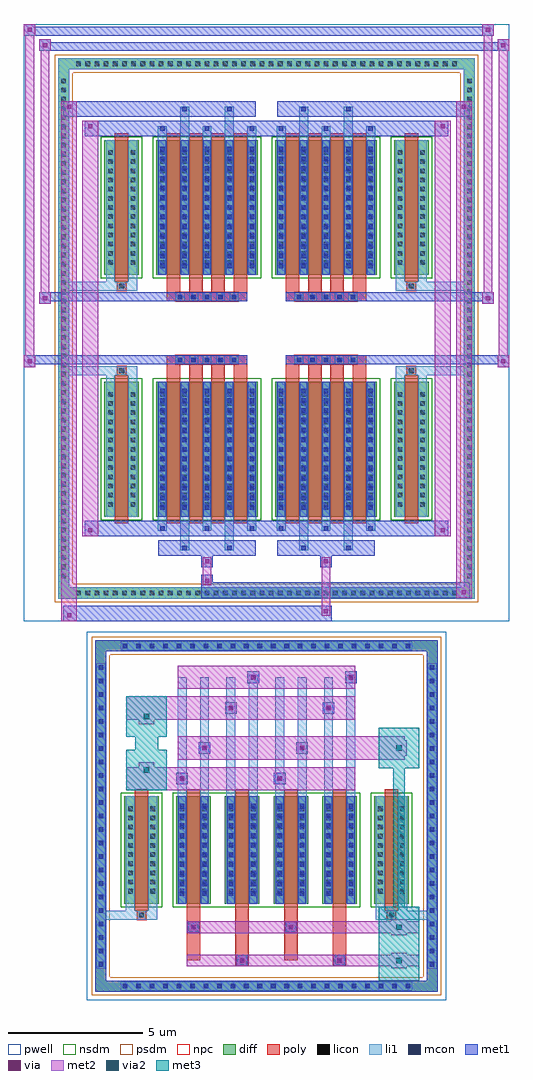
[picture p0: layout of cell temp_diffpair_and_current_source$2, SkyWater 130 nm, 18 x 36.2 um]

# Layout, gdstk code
import gdstk
lib = gdstk.Library(unit=1e-6, precision=5e-09)
def R(c, l, rs):  # rectangles x0, y0, x1, y1
    for r in rs: c.add(gdstk.rectangle(r[:2], r[2:], *l))
def A(c, l, x, y, w, h, nx, ny, dx, dy):  # array of equal rectangles
    R(c, l, [(x+i*dx, y+j*dy, x+i*dx+w, y+j*dy+h) for i in range(nx) for j in range(ny)])
def P(c, l, *ps):  # polygons
    for p in ps: c.add(gdstk.Polygon(p, *l))
pwell = (64, 44)
diff = (65, 20)
poly = (66, 20)
licon = (66, 44)
li1 = (67, 20)
mcon = (67, 44)
met1 = (68, 20)
via = (68, 44)
met2 = (69, 20)
via2 = (69, 44)
met3 = (70, 20)
nsdm = (93, 44)
psdm = (94, 20)
npc = (95, 20)

diff_pair_64b0bc6c = lib.new_cell('diff_pair_64b0bc6c')
R(diff_pair_64b0bc6c, pwell, [(-9,-10.86,9,11.29), (-6.32,-8.61,-0.01,-0.805), (0.01,-8.61,6.32,-0.805), (-6.32,0.805,-0.01,8.61), (0.01,0.805,6.32,8.61)])
A(diff_pair_64b0bc6c, diff, -7.175, -10.02, 0.41, 0.41, 42, 2, 0.34, 19.63)
A(diff_pair_64b0bc6c, diff, -7.73, -9.385, 0.41, 0.41, 1, 55, 0, 0.34)
A(diff_pair_64b0bc6c, diff, 7.32, -9.385, 0.41, 0.41, 1, 55, 0, 0.34)
R(diff_pair_64b0bc6c, diff, [(-7.175,-10.02,7.175,-9.61), (-7.73,-9.385,-7.32,9.385), (7.32,-9.385,7.73,9.385), (-6.01,-6.985,-4.73,-1.985), (-4.09,-6.985,-0.32,-1.985), (0.32,-6.985,4.09,-1.985), (4.73,-6.985,6.01,-1.985), (-6.01,1.985,-4.73,6.985), (-4.09,1.985,-0.32,6.985), (0.32,1.985,4.09,6.985), (4.73,1.985,6.01,6.985), (-7.175,9.61,7.175,10.02)])
P(diff_pair_64b0bc6c, diff, [(7.73,10.02),(-7.73,10.02),(-7.73,-9.61),(-7.32,-9.61),(-7.32,9.61),(7.32,9.61),(7.32,-9.61),(-7.32,-9.61),(-7.73,-9.61),(-7.73,-10.02),(7.73,-10.02)])
A(diff_pair_64b0bc6c, poly, -3.7, -7.235, 0.5, 5.5, 4, 2, 0.83, 8.97)
A(diff_pair_64b0bc6c, poly, 0.71, -7.235, 0.5, 5.5, 4, 2, 0.83, 8.97)
A(diff_pair_64b0bc6c, poly, -3.7, -1.735, 0.5, 0.4, 4, 2, 0.83, 3.07)
A(diff_pair_64b0bc6c, poly, 0.71, -1.735, 0.5, 0.4, 4, 2, 0.83, 3.07)
A(diff_pair_64b0bc6c, poly, -3.37, -1.335, 0.33, 0.33, 5, 2, 0.5, 2.34)
A(diff_pair_64b0bc6c, poly, 1.04, -1.335, 0.33, 0.33, 5, 2, 0.5, 2.34)
R(diff_pair_64b0bc6c, poly, [(-5.62,-7.235,-5.12,-1.735), (5.12,-7.235,5.62,-1.735), (-5.535,-1.735,-5.205,-1.405), (-5.535,-1.735,-5.205,-1.405), (5.205,-1.735,5.535,-1.405), (5.205,-1.735,5.535,-1.405), (-3.7,-1.335,-0.71,-1.005), (0.71,-1.335,3.7,-1.005), (-3.7,1.005,-0.71,1.335), (0.71,1.005,3.7,1.335), (-5.535,1.405,-5.205,1.735), (-5.535,1.405,-5.205,1.735), (5.205,1.405,5.535,1.735), (5.205,1.405,5.535,1.735), (-5.62,1.735,-5.12,7.235), (5.12,1.735,5.62,7.235)])
A(diff_pair_64b0bc6c, licon, -7.055, -9.9, 0.17, 0.17, 42, 2, 0.34, 19.63)
A(diff_pair_64b0bc6c, licon, -7.61, -9.265, 0.17, 0.17, 1, 55, 0, 0.34)
A(diff_pair_64b0bc6c, licon, 7.44, -9.265, 0.17, 0.17, 1, 55, 0, 0.34)
A(diff_pair_64b0bc6c, licon, -5.87, -6.61, 0.17, 0.17, 1, 13, 0, 0.34)
A(diff_pair_64b0bc6c, licon, -5.04, -6.61, 0.17, 0.17, 1, 13, 0, 0.34)
A(diff_pair_64b0bc6c, licon, -3.95, -6.61, 0.17, 0.17, 5, 13, 0.83, 0.34)
A(diff_pair_64b0bc6c, licon, 0.46, -6.61, 0.17, 0.17, 5, 13, 0.83, 0.34)
A(diff_pair_64b0bc6c, licon, 4.87, -6.61, 0.17, 0.17, 1, 13, 0, 0.34)
A(diff_pair_64b0bc6c, licon, 5.7, -6.61, 0.17, 0.17, 1, 13, 0, 0.34)
A(diff_pair_64b0bc6c, licon, -3.29, -1.255, 0.17, 0.17, 5, 2, 0.5, 2.34)
A(diff_pair_64b0bc6c, licon, 1.12, -1.255, 0.17, 0.17, 5, 2, 0.5, 2.34)
A(diff_pair_64b0bc6c, licon, -5.87, 2.36, 0.17, 0.17, 1, 13, 0, 0.34)
A(diff_pair_64b0bc6c, licon, -5.04, 2.36, 0.17, 0.17, 1, 13, 0, 0.34)
A(diff_pair_64b0bc6c, licon, -3.95, 2.36, 0.17, 0.17, 5, 13, 0.83, 0.34)
A(diff_pair_64b0bc6c, licon, 0.46, 2.36, 0.17, 0.17, 5, 13, 0.83, 0.34)
A(diff_pair_64b0bc6c, licon, 4.87, 2.36, 0.17, 0.17, 1, 13, 0, 0.34)
A(diff_pair_64b0bc6c, licon, 5.7, 2.36, 0.17, 0.17, 1, 13, 0, 0.34)
R(diff_pair_64b0bc6c, licon, [(-5.455,-1.655,-5.285,-1.485), (5.285,-1.655,5.455,-1.485), (-5.455,1.485,-5.285,1.655), (5.285,1.485,5.455,1.655)])
A(diff_pair_64b0bc6c, li1, -7.135, -9.98, 0.33, 0.33, 42, 2, 0.34, 19.63)
A(diff_pair_64b0bc6c, li1, -7.69, -9.345, 0.33, 0.33, 1, 55, 0, 0.34)
A(diff_pair_64b0bc6c, li1, 7.36, -9.345, 0.33, 0.33, 1, 55, 0, 0.34)
A(diff_pair_64b0bc6c, li1, -4.03, -7.505, 0.33, 0.52, 3, 2, 1.66, 14.49)
A(diff_pair_64b0bc6c, li1, -3.95, -7.505, 0.17, 0.17, 3, 2, 1.66, 14.84)
A(diff_pair_64b0bc6c, li1, 0.38, -7.505, 0.33, 0.52, 3, 2, 1.66, 14.49)
A(diff_pair_64b0bc6c, li1, 0.46, -7.505, 0.17, 0.17, 3, 2, 1.66, 14.84)
A(diff_pair_64b0bc6c, li1, -4.03, -6.985, 0.33, 5, 5, 2, 0.83, 8.97)
A(diff_pair_64b0bc6c, li1, 0.38, -6.985, 0.33, 5, 5, 2, 0.83, 8.97)
A(diff_pair_64b0bc6c, li1, -3.95, -6.73, 0.17, 0.17, 5, 13, 0.83, 0.36)
A(diff_pair_64b0bc6c, li1, -3.95, -6.73, 0.17, 4.49, 5, 2, 0.83, 8.97)
A(diff_pair_64b0bc6c, li1, 0.46, -6.73, 0.17, 0.17, 5, 13, 0.83, 0.36)
A(diff_pair_64b0bc6c, li1, 0.46, -6.73, 0.17, 4.49, 5, 2, 0.83, 8.97)
A(diff_pair_64b0bc6c, li1, -5.95, -6.69, 0.33, 0.33, 1, 13, 0, 0.34)
A(diff_pair_64b0bc6c, li1, -5.12, -6.69, 0.33, 0.33, 1, 13, 0, 0.34)
A(diff_pair_64b0bc6c, li1, -4.03, -6.69, 0.33, 0.33, 5, 13, 0.83, 0.34)
A(diff_pair_64b0bc6c, li1, 0.38, -6.69, 0.33, 0.33, 5, 13, 0.83, 0.34)
A(diff_pair_64b0bc6c, li1, 4.79, -6.69, 0.33, 0.33, 1, 13, 0, 0.34)
A(diff_pair_64b0bc6c, li1, 5.62, -6.69, 0.33, 0.33, 1, 13, 0, 0.34)
A(diff_pair_64b0bc6c, li1, -3.37, -1.335, 0.33, 0.33, 5, 2, 0.5, 2.34)
A(diff_pair_64b0bc6c, li1, 1.04, -1.335, 0.33, 0.33, 5, 2, 0.5, 2.34)
A(diff_pair_64b0bc6c, li1, -3.95, 2.24, 0.17, 0.17, 5, 13, 0.83, 0.36)
A(diff_pair_64b0bc6c, li1, 0.46, 2.24, 0.17, 0.17, 5, 13, 0.83, 0.36)
A(diff_pair_64b0bc6c, li1, -5.95, 2.28, 0.33, 0.33, 1, 13, 0, 0.34)
A(diff_pair_64b0bc6c, li1, -5.12, 2.28, 0.33, 0.33, 1, 13, 0, 0.34)
A(diff_pair_64b0bc6c, li1, -4.03, 2.28, 0.33, 0.33, 5, 13, 0.83, 0.34)
A(diff_pair_64b0bc6c, li1, 0.38, 2.28, 0.33, 0.33, 5, 13, 0.83, 0.34)
A(diff_pair_64b0bc6c, li1, 4.79, 2.28, 0.33, 0.33, 1, 13, 0, 0.34)
A(diff_pair_64b0bc6c, li1, 5.62, 2.28, 0.33, 0.33, 1, 13, 0, 0.34)
R(diff_pair_64b0bc6c, li1, [(-7.73,-10.02,-7.32,-9.61), (-7.73,-10.02,-7.32,-9.61), (-7.32,-10.02,7.32,-9.61), (7.32,-10.02,7.73,-9.61), (7.32,-10.02,7.73,-9.61), (-7.73,-9.61,-7.32,9.61), (7.32,-9.61,7.73,9.61), (-3.2,-8.225,-2.87,-6.985), (-3.12,-8.225,-2.95,-8.055), (-1.54,-8.225,-1.21,-6.985), (-1.46,-8.225,-1.29,-8.055), (1.21,-8.225,1.54,-6.985), (1.29,-8.225,1.46,-8.055), (2.87,-8.225,3.2,-6.985), (2.95,-8.225,3.12,-8.055), (-5.95,-6.985,-5.62,-1.985), (-5.12,-6.985,-4.79,-1.985), (4.79,-6.985,5.12,-1.985), (5.62,-6.985,5.95,-1.985), (-5.95,-1.985,-5.62,-1.405), (-5.12,-1.985,-4.79,-1.405), (4.79,-1.985,5.12,-1.405), (5.62,-1.985,5.95,-1.405), (-7.73,-1.735,-5.535,-1.405), (-5.95,-1.735,-5.535,-1.405), (-5.535,-1.735,-5.205,-1.405), (-5.205,-1.735,-4.79,-1.405), (4.79,-1.735,5.205,-1.405), (5.205,-1.735,5.535,-1.405), (5.205,-1.735,7.73,-1.405), (5.535,-1.735,5.95,-1.405), (-7.73,1.405,-5.535,1.735), (-5.95,1.405,-5.535,1.735), (-5.95,1.405,-5.62,1.985), (-5.535,1.405,-5.205,1.735), (-5.205,1.405,-4.79,1.735), (-5.12,1.405,-4.79,1.985), (4.79,1.405,5.205,1.735), (4.79,1.405,5.12,1.985), (5.205,1.405,5.535,1.735), (5.205,1.405,7.73,1.735), (5.535,1.405,5.95,1.735), (5.62,1.405,5.95,1.985), (-5.95,1.985,-5.62,6.985), (-5.12,1.985,-4.79,6.985), (4.79,1.985,5.12,6.985), (5.62,1.985,5.95,6.985), (-3.2,6.985,-2.87,8.225), (-1.54,6.985,-1.21,8.225), (1.21,6.985,1.54,8.225), (2.87,6.985,3.2,8.225), (-3.12,8.055,-2.95,8.225), (-1.46,8.055,-1.29,8.225), (1.29,8.055,1.46,8.225), (2.95,8.055,3.12,8.225), (-7.73,9.61,-7.32,10.02), (-7.73,9.61,-7.32,10.02), (-7.32,9.61,7.32,10.02), (7.32,9.61,7.73,10.02), (7.32,9.61,7.73,10.02)])
A(diff_pair_64b0bc6c, mcon, -3.95, -7.505, 0.17, 0.17, 3, 2, 1.66, 14.84)
A(diff_pair_64b0bc6c, mcon, 0.46, -7.505, 0.17, 0.17, 3, 2, 1.66, 14.84)
A(diff_pair_64b0bc6c, mcon, -3.95, -6.73, 0.17, 0.17, 5, 13, 0.83, 0.36)
A(diff_pair_64b0bc6c, mcon, 0.46, -6.73, 0.17, 0.17, 5, 13, 0.83, 0.36)
A(diff_pair_64b0bc6c, mcon, -3.29, -1.255, 0.17, 0.17, 5, 2, 0.5, 2.34)
A(diff_pair_64b0bc6c, mcon, 1.12, -1.255, 0.17, 0.17, 5, 2, 0.5, 2.34)
A(diff_pair_64b0bc6c, mcon, -3.95, 2.24, 0.17, 0.17, 5, 13, 0.83, 0.36)
A(diff_pair_64b0bc6c, mcon, 0.46, 2.24, 0.17, 0.17, 5, 13, 0.83, 0.36)
R(diff_pair_64b0bc6c, mcon, [(-3.12,-8.225,-2.95,-8.055), (-1.46,-8.225,-1.29,-8.055), (1.29,-8.225,1.46,-8.055), (2.95,-8.225,3.12,-8.055), (-3.12,8.055,-2.95,8.225), (-1.46,8.055,-1.29,8.225), (1.29,8.055,1.46,8.225), (2.95,8.055,3.12,8.225)])
A(diff_pair_64b0bc6c, met1, -4.01, -7.565, 0.29, 0.29, 3, 2, 1.66, 14.84)
A(diff_pair_64b0bc6c, met1, 0.4, -7.565, 0.29, 0.29, 3, 2, 1.66, 14.84)
A(diff_pair_64b0bc6c, met1, -4.01, -6.985, 0.29, 5, 5, 2, 0.83, 8.97)
A(diff_pair_64b0bc6c, met1, 0.4, -6.985, 0.29, 5, 5, 2, 0.83, 8.97)
A(diff_pair_64b0bc6c, met1, -4.01, -6.79, 0.29, 0.29, 5, 13, 0.83, 0.36)
A(diff_pair_64b0bc6c, met1, 0.4, -6.79, 0.29, 0.29, 5, 13, 0.83, 0.36)
A(diff_pair_64b0bc6c, met1, -3.35, -1.315, 0.29, 0.29, 5, 2, 0.5, 2.34)
A(diff_pair_64b0bc6c, met1, 1.06, -1.315, 0.29, 0.29, 5, 2, 0.5, 2.34)
A(diff_pair_64b0bc6c, met1, -4.01, 2.18, 0.29, 0.29, 5, 13, 0.83, 0.36)
A(diff_pair_64b0bc6c, met1, 0.4, 2.18, 0.29, 0.29, 5, 13, 0.83, 0.36)
R(diff_pair_64b0bc6c, met1, [(-7.535,-10.86,-7.105,-10.43), (-7.535,-10.86,2.42,-10.28), (1.99,-10.71,2.42,-10.28), (-2.42,-10,7.535,-9.42), (7.105,-10,7.535,-9.57), (-2.42,-9.57,-1.99,-9.14), (-2.42,-8.86,-1.99,-8.43), (1.99,-8.86,2.42,-8.43), (-4.01,-8.43,-0.4,-7.85), (0.4,-8.43,4.01,-7.85), (-3.18,-8.285,-2.89,-7.995), (-1.52,-8.285,-1.23,-7.995), (1.23,-8.285,1.52,-7.995), (2.89,-8.285,3.18,-7.995), (-6.75,-7.71,-6.32,-7.28), (-6.75,-7.71,-4.01,-7.13), (-4.01,-7.71,-0.4,-7.13), (-0.4,-7.71,0.4,-7.13), (0.4,-7.71,4.01,-7.13), (4.01,-7.71,6.75,-7.13), (6.32,-7.71,6.75,-7.28), (-9,-1.435,-8.57,-1.005), (8.57,-1.435,9,-1.005), (-9,-1.335,-0.71,-1.005), (-3.7,-1.335,-0.71,-1.005), (0.71,-1.335,3.7,-1.005), (0.71,-1.335,9,-1.005), (-8.43,0.905,-8,1.335), (8,0.905,8.43,1.335), (-8.43,1.005,-3.7,1.335), (-3.7,1.005,-0.71,1.335), (0.71,1.005,3.7,1.335), (3.7,1.005,8.43,1.335), (-6.75,7.13,-4.01,7.71), (-4.01,7.13,-0.4,7.71), (-0.4,7.13,0.4,7.71), (0.4,7.13,4.01,7.71), (4.01,7.13,6.75,7.71), (-6.75,7.28,-6.32,7.71), (6.32,7.28,6.75,7.71), (-7.535,7.85,-4.01,8.43), (-4.01,7.85,-0.4,8.43), (0.4,7.85,4.01,8.43), (4.01,7.85,7.535,8.43), (-3.18,7.995,-2.89,8.285), (-1.52,7.995,-1.23,8.285), (1.23,7.995,1.52,8.285), (2.89,7.995,3.18,8.285), (-7.535,8,-7.105,8.43), (7.105,8,7.535,8.43), (-8.43,10.29,-8,10.72), (-8.43,10.29,-6.32,10.62), (-6.32,10.29,6.32,10.62), (6.32,10.29,9,10.62), (8.57,10.29,9,10.72), (-9,10.86,-8.57,11.29), (-9,10.86,-6.32,11.19), (-6.32,10.86,6.32,11.19), (6.32,10.86,8.43,11.19), (8,10.86,8.43,11.29)])
R(diff_pair_64b0bc6c, via, [(-7.395,-10.72,-7.245,-10.57), (2.13,-10.57,2.28,-10.42), (7.245,-9.86,7.395,-9.71), (-2.28,-9.43,-2.13,-9.28), (-2.28,-8.72,-2.13,-8.57), (2.13,-8.72,2.28,-8.57), (-6.61,-7.57,-6.46,-7.42), (6.46,-7.57,6.61,-7.42), (-8.86,-1.295,-8.71,-1.145), (8.71,-1.295,8.86,-1.145), (-8.29,1.045,-8.14,1.195), (8.14,1.045,8.29,1.195), (-6.61,7.42,-6.46,7.57), (6.46,7.42,6.61,7.57), (-7.395,8.14,-7.245,8.29), (7.245,8.14,7.395,8.29), (-8.29,10.43,-8.14,10.58), (8.71,10.43,8.86,10.58), (-8.86,11,-8.71,11.15), (8.14,11,8.29,11.15)])
R(diff_pair_64b0bc6c, met2, [(-7.61,-10.86,-7.03,8.43), (-7.535,-10.86,-7.105,-10.43), (-7.105,-10.86,-7.03,-10.43), (-7.485,-10.81,-7.155,-10.48), (2.04,-10.66,2.37,-10.33), (2.04,-10.33,2.37,-8.81), (7.03,-10,7.61,8.43), (7.105,-10,7.535,-9.57), (7.535,-10,7.61,-9.57), (7.155,-9.95,7.485,-9.62), (-2.37,-9.52,-2.04,-9.19), (-2.37,-9.19,-2.04,-8.81), (-2.37,-8.81,-2.04,-8.48), (2.04,-8.81,2.37,-8.48), (-6.825,-7.71,-6.245,7.71), (-6.75,-7.71,-6.32,-7.28), (-6.32,-7.71,-6.245,-7.28), (6.245,-7.71,6.825,7.71), (6.32,-7.71,6.75,-7.28), (6.75,-7.71,6.825,-7.28), (-6.7,-7.66,-6.37,-7.33), (6.37,-7.66,6.7,-7.33), (-9,-1.435,-8.57,-1.005), (-8.95,-1.435,-8.62,11.29), (-8.62,-1.435,-8.57,-1.005), (8.57,-1.435,9,-1.005), (8.62,-1.435,8.95,10.72), (8.95,-1.435,9,-1.005), (-8.95,-1.385,-8.62,-1.055), (8.62,-1.385,8.95,-1.055), (-8.43,0.905,-8,1.335), (-8.38,0.905,-8.05,10.72), (-8.05,0.905,-8,1.335), (8,0.905,8.43,1.335), (8.05,0.905,8.38,11.29), (8.38,0.905,8.43,1.335), (-8.38,0.955,-8.05,1.285), (8.05,0.955,8.38,1.285), (-6.75,7.28,-6.32,7.71), (-6.32,7.28,-6.245,7.71), (6.32,7.28,6.75,7.71), (6.75,7.28,6.825,7.71), (-6.7,7.33,-6.37,7.66), (6.37,7.33,6.7,7.66), (-7.535,8,-7.105,8.43), (-7.105,8,-7.03,8.43), (7.105,8,7.535,8.43), (7.535,8,7.61,8.43), (-7.485,8.05,-7.155,8.38), (7.155,8.05,7.485,8.38), (-8.43,10.29,-8,10.72), (-8.05,10.29,-8,10.72), (8.57,10.29,9,10.72), (8.95,10.29,9,10.72), (-8.38,10.34,-8.05,10.67), (8.62,10.34,8.95,10.67), (-9,10.86,-8.57,11.29), (-8.62,10.86,-8.57,11.29), (8,10.86,8.43,11.29), (8.38,10.86,8.43,11.29), (-8.95,10.91,-8.62,11.24), (8.05,10.91,8.38,11.24)])
R(diff_pair_64b0bc6c, nsdm, [(-6.14,-7.115,-4.6,-1.855), (-4.22,-7.115,-0.19,-1.855), (0.19,-7.115,4.22,-1.855), (4.6,-7.115,6.14,-1.855), (-6.14,1.855,-4.6,7.115), (-4.22,1.855,-0.19,7.115), (0.19,1.855,4.22,7.115), (4.6,1.855,6.14,7.115)])
P(diff_pair_64b0bc6c, psdm, [(7.86,10.15),(-7.86,10.15),(-7.86,-9.48),(-7.19,-9.48),(-7.19,9.48),(7.19,9.48),(7.19,-9.48),(-7.19,-9.48),(-7.86,-9.48),(-7.86,-10.15),(7.86,-10.15)])
A(diff_pair_64b0bc6c, npc, -3.39, -1.355, 0.37, 0.37, 5, 2, 0.5, 2.34)
A(diff_pair_64b0bc6c, npc, 1.02, -1.355, 0.37, 0.37, 5, 2, 0.5, 2.34)
R(diff_pair_64b0bc6c, npc, [(-5.555,-1.755,-5.185,-1.385), (5.185,-1.755,5.555,-1.385), (-3.39,-1.355,-2.52,-0.985), (-3.39,-1.355,-2.52,-0.985), (-2.89,-1.355,-2.02,-0.985), (-2.89,-1.355,-2.02,-0.985), (-2.39,-1.355,-1.52,-0.985), (-2.39,-1.355,-1.52,-0.985), (-1.89,-1.355,-1.02,-0.985), (-1.89,-1.355,-1.02,-0.985), (1.02,-1.355,1.89,-0.985), (1.02,-1.355,1.89,-0.985), (1.52,-1.355,2.39,-0.985), (1.52,-1.355,2.39,-0.985), (2.02,-1.355,2.89,-0.985), (2.02,-1.355,2.89,-0.985), (2.52,-1.355,3.39,-0.985), (2.52,-1.355,3.39,-0.985), (-3.39,0.985,-2.52,1.355), (-3.39,0.985,-2.52,1.355), (-2.89,0.985,-2.02,1.355), (-2.89,0.985,-2.02,1.355), (-2.39,0.985,-1.52,1.355), (-2.39,0.985,-1.52,1.355), (-1.89,0.985,-1.02,1.355), (-1.89,0.985,-1.02,1.355), (1.02,0.985,1.89,1.355), (1.02,0.985,1.89,1.355), (1.52,0.985,2.39,1.355), (1.52,0.985,2.39,1.355), (2.02,0.985,2.89,1.355), (2.02,0.985,2.89,1.355), (2.52,0.985,3.39,1.355), (2.52,0.985,3.39,1.355), (-5.555,1.385,-5.185,1.755), (5.185,1.385,5.555,1.755)])

unnamed_06561454_1 = lib.new_cell('Unnamed_06561454$1')
A(unnamed_06561454_1, diff, -5.455, -6.515, 0.41, 0.41, 22, 2, 0.5, 12.62)
A(unnamed_06561454_1, diff, -6.35, -5.705, 0.41, 0.41, 1, 23, 0, 0.5)
A(unnamed_06561454_1, diff, 5.94, -5.705, 0.41, 0.41, 1, 23, 0, 0.5)
R(unnamed_06561454_1, diff, [(-5.455,-6.515,5.455,-6.105), (-6.35,-5.705,-5.94,5.705), (5.94,-5.705,6.35,5.705), (-5.455,6.105,5.455,6.515)])
P(unnamed_06561454_1, diff, [(6.35,6.515),(-6.35,6.515),(-6.35,-6.105),(-5.94,-6.105),(-5.94,6.105),(5.94,6.105),(5.94,-6.105),(-5.94,-6.105),(-6.35,-6.105),(-6.35,-6.515),(6.35,-6.515)])
A(unnamed_06561454_1, licon, -5.335, -6.395, 0.17, 0.17, 22, 2, 0.5, 12.62)
A(unnamed_06561454_1, licon, -6.23, -5.585, 0.17, 0.17, 1, 23, 0, 0.5)
A(unnamed_06561454_1, licon, 6.06, -5.585, 0.17, 0.17, 1, 23, 0, 0.5)
A(unnamed_06561454_1, li1, -5.415, -6.475, 0.33, 0.33, 22, 2, 0.5, 12.62)
A(unnamed_06561454_1, li1, -6.31, -5.665, 0.33, 0.33, 1, 23, 0, 0.5)
A(unnamed_06561454_1, li1, 5.98, -5.665, 0.33, 0.33, 1, 23, 0, 0.5)
R(unnamed_06561454_1, li1, [(-5.415,-6.475,5.415,-6.145), (-6.31,-5.665,-5.98,5.665), (5.98,-5.665,6.31,5.665), (-5.415,6.145,5.415,6.475)])
A(unnamed_06561454_1, mcon, -5.335, -6.395, 0.17, 0.17, 22, 2, 0.5, 12.62)
A(unnamed_06561454_1, mcon, -6.23, -5.585, 0.17, 0.17, 1, 23, 0, 0.5)
A(unnamed_06561454_1, mcon, 6.06, -5.585, 0.17, 0.17, 1, 23, 0, 0.5)
A(unnamed_06561454_1, met1, -5.395, -6.455, 0.29, 0.29, 22, 2, 0.5, 12.62)
A(unnamed_06561454_1, met1, -6.29, -5.645, 0.29, 0.29, 1, 23, 0, 0.5)
A(unnamed_06561454_1, met1, 6, -5.645, 0.29, 0.29, 1, 23, 0, 0.5)
R(unnamed_06561454_1, met1, [(-6.35,-6.515,-5.94,-6.105), (-6.35,-6.515,-5.94,-6.105), (-5.94,-6.515,5.94,-6.105), (5.94,-6.515,6.35,-6.105), (5.94,-6.515,6.35,-6.105), (-6.35,-6.105,-5.94,6.105), (5.94,-6.105,6.35,6.105), (-6.35,6.105,-5.94,6.515), (-6.35,6.105,-5.94,6.515), (-5.94,6.105,5.94,6.515), (5.94,6.105,6.35,6.515), (5.94,6.105,6.35,6.515)])
P(unnamed_06561454_1, psdm, [(6.48,6.645),(-6.48,6.645),(-6.48,-5.975),(-5.81,-5.975),(-5.81,5.975),(5.81,5.975),(5.81,-5.975),(-5.81,-5.975),(-6.48,-5.975),(-6.48,-6.645),(6.48,-6.645)])

straight_route_0aa523a1 = lib.new_cell('straight_route_0aa523a1')
R(straight_route_0aa523a1, li1, [(-6.35,-3.84,-4.8,-3.51)])

straight_route_9a4c316b = lib.new_cell('straight_route_9a4c316b')
R(straight_route_9a4c316b, li1, [(4.8,-3.84,6.35,-3.51)])

c_route_3179fd49 = lib.new_cell('c_route_3179fd49')
R(c_route_3179fd49, met2, [(4.625,-5.645,5.205,-5.065), (2.965,-5.57,5.665,-5.14), (4.625,-4.415,5.205,-3.835), (2.965,-4.34,5.665,-3.91)])
R(c_route_3179fd49, via2, [(4.815,-5.455,5.015,-5.255), (4.815,-4.225,5.015,-4.025)])
R(c_route_3179fd49, met3, [(4.165,-6.105,5.665,-4.605), (4.165,-6.105,5.665,-4.605), (4.7,-6.105,5.13,-3.375), (5.13,-6.105,5.665,-4.605), (4.165,-4.875,5.665,-3.375), (4.165,-4.875,5.665,-3.375), (5.13,-4.875,5.665,-3.375)])

l_route_c072cab6 = lib.new_cell('L_route_c072cab6')
R(l_route_c072cab6, met2, [(3.295,2.095,5.13,2.955), (4.625,2.235,5.205,2.815)])
R(l_route_c072cab6, via2, [(4.815,2.425,5.015,2.625)])
R(l_route_c072cab6, met3, [(4.7,-3.375,5.13,2.955), (4.165,1.775,5.665,3.275), (4.165,1.775,5.665,3.275)])

c_route_3a6a508b = lib.new_cell('c_route_3a6a508b')
R(c_route_3a6a508b, met2, [(-5.195,0.955,-3.295,1.815), (-4.735,1.415,-4.155,1.995), (-4.735,3.395,-4.155,3.975), (-5.195,3.575,-3.295,4.435)])
R(c_route_3a6a508b, via2, [(-4.545,1.605,-4.345,1.805), (-4.545,3.585,-4.345,3.785)])
R(c_route_3a6a508b, met3, [(-5.195,0.955,-3.695,2.455), (-5.195,0.955,-3.695,2.455), (-4.875,0.955,-4.015,4.435), (-4.015,0.955,-3.695,2.455), (-5.195,2.935,-3.695,4.435), (-5.195,2.935,-3.695,4.435), (-4.015,2.935,-3.695,4.435)])

transformed_bc60aaf5 = lib.new_cell('transformed_bc60aaf5')
R(transformed_bc60aaf5, pwell, [(-6.66,-6.825,6.66,6.825)])
A(transformed_bc60aaf5, diff, -3.355, -3.26, 1.28, 4, 4, 1, 1.81, 0)
R(transformed_bc60aaf5, diff, [(-5.275,-3.26,-3.995,0.74), (3.995,-3.26,5.275,0.74)])
A(transformed_bc60aaf5, poly, -2.965, -3.51, 0.5, 4.5, 4, 1, 1.81, 0)
R(transformed_bc60aaf5, poly, [(-1.155,-5.57,-0.655,-5.14), (2.465,-5.57,2.965,-5.14), (-1.07,-5.52,-0.74,-5.19), (2.55,-5.52,2.88,-5.19), (-2.965,-5.355,-2.465,-3.51), (0.655,-5.355,1.155,-3.51), (-1.155,-5.14,-0.655,-3.51), (2.465,-5.14,2.965,-3.51), (-2.965,-4.34,-2.465,-3.91), (0.655,-4.34,1.155,-3.91), (-2.88,-4.29,-2.55,-3.96), (0.74,-4.29,1.07,-3.96), (-2.965,-3.91,-2.465,-3.51), (0.655,-3.91,1.155,-3.51), (-4.8,-3.84,-4.47,-3.51), (-4.8,-3.84,-4.47,-3.51), (4.47,-3.84,4.8,-3.51), (4.47,-3.84,4.8,-3.51), (-4.885,-3.51,-4.385,0.99), (4.385,-3.51,4.885,0.99)])
A(transformed_bc60aaf5, licon, -5.135, -2.875, 0.17, 0.17, 1, 10, 0, 0.34)
A(transformed_bc60aaf5, licon, -4.305, -2.875, 0.17, 0.17, 1, 10, 0, 0.34)
A(transformed_bc60aaf5, licon, -3.215, -2.875, 0.17, 0.17, 1, 10, 0, 0.34)
A(transformed_bc60aaf5, licon, -2.385, -2.875, 0.17, 0.17, 1, 10, 0, 0.34)
A(transformed_bc60aaf5, licon, -1.405, -2.875, 0.17, 0.17, 1, 10, 0, 0.34)
A(transformed_bc60aaf5, licon, -0.575, -2.875, 0.17, 0.17, 1, 10, 0, 0.34)
A(transformed_bc60aaf5, licon, 0.405, -2.875, 0.17, 0.17, 1, 10, 0, 0.34)
A(transformed_bc60aaf5, licon, 1.235, -2.875, 0.17, 0.17, 1, 10, 0, 0.34)
A(transformed_bc60aaf5, licon, 2.215, -2.875, 0.17, 0.17, 1, 10, 0, 0.34)
A(transformed_bc60aaf5, licon, 3.045, -2.875, 0.17, 0.17, 1, 10, 0, 0.34)
A(transformed_bc60aaf5, licon, 4.135, -2.875, 0.17, 0.17, 1, 10, 0, 0.34)
A(transformed_bc60aaf5, licon, 4.965, -2.875, 0.17, 0.17, 1, 10, 0, 0.34)
R(transformed_bc60aaf5, licon, [(-0.99,-5.44,-0.82,-5.27), (2.63,-5.44,2.8,-5.27), (-2.8,-4.21,-2.63,-4.04), (0.82,-4.21,0.99,-4.04), (-4.72,-3.76,-4.55,-3.59), (4.55,-3.76,4.72,-3.59)])
A(transformed_bc60aaf5, li1, -3.215, -2.965, 0.17, 0.17, 1, 10, 0, 0.36)
A(transformed_bc60aaf5, li1, -2.385, -2.965, 0.17, 0.17, 1, 10, 0, 0.36)
A(transformed_bc60aaf5, li1, -1.405, -2.965, 0.17, 0.17, 1, 10, 0, 0.36)
A(transformed_bc60aaf5, li1, -0.575, -2.965, 0.17, 0.17, 1, 10, 0, 0.36)
A(transformed_bc60aaf5, li1, 0.405, -2.965, 0.17, 0.17, 1, 10, 0, 0.36)
A(transformed_bc60aaf5, li1, 1.235, -2.965, 0.17, 0.17, 1, 10, 0, 0.36)
A(transformed_bc60aaf5, li1, 2.215, -2.965, 0.17, 0.17, 1, 10, 0, 0.36)
A(transformed_bc60aaf5, li1, 3.045, -2.965, 0.17, 0.17, 1, 10, 0, 0.36)
A(transformed_bc60aaf5, li1, -5.215, -2.955, 0.33, 0.33, 1, 10, 0, 0.34)
A(transformed_bc60aaf5, li1, -4.385, -2.955, 0.33, 0.33, 1, 10, 0, 0.34)
A(transformed_bc60aaf5, li1, -3.295, -2.955, 0.33, 0.33, 1, 10, 0, 0.34)
A(transformed_bc60aaf5, li1, -2.465, -2.955, 0.33, 0.33, 1, 10, 0, 0.34)
A(transformed_bc60aaf5, li1, -1.485, -2.955, 0.33, 0.33, 1, 10, 0, 0.34)
A(transformed_bc60aaf5, li1, -0.655, -2.955, 0.33, 0.33, 1, 10, 0, 0.34)
A(transformed_bc60aaf5, li1, 0.325, -2.955, 0.33, 0.33, 1, 10, 0, 0.34)
A(transformed_bc60aaf5, li1, 1.155, -2.955, 0.33, 0.33, 1, 10, 0, 0.34)
A(transformed_bc60aaf5, li1, 2.135, -2.955, 0.33, 0.33, 1, 10, 0, 0.34)
A(transformed_bc60aaf5, li1, 2.965, -2.955, 0.33, 0.33, 1, 10, 0, 0.34)
A(transformed_bc60aaf5, li1, 4.055, -2.955, 0.33, 0.33, 1, 10, 0, 0.34)
A(transformed_bc60aaf5, li1, 4.885, -2.955, 0.33, 0.33, 1, 10, 0, 0.34)
R(transformed_bc60aaf5, li1, [(-1.07,-5.52,-0.74,-5.19), (2.55,-5.52,2.88,-5.19), (-2.88,-4.29,-2.55,-3.96), (0.74,-4.29,1.07,-3.96), (-5.215,-3.84,-4.8,-3.51), (-5.215,-3.84,-4.885,-3.26), (-4.8,-3.84,-4.47,-3.51), (-4.47,-3.84,-4.055,-3.51), (-4.385,-3.84,-4.055,-3.26), (4.055,-3.84,4.47,-3.51), (4.055,-3.84,4.385,-3.26), (4.47,-3.84,4.8,-3.51), (4.8,-3.84,5.215,-3.51), (4.885,-3.84,5.215,-3.26), (-5.215,-3.26,-4.885,0.74), (-4.385,-3.26,-4.055,0.74), (-3.295,-3.26,-2.965,0.74), (-2.465,-3.26,-2.135,0.74), (-1.485,-3.26,-1.155,0.74), (-0.655,-3.26,-0.325,0.74), (0.325,-3.26,0.655,0.74), (1.155,-3.26,1.485,0.74), (2.135,-3.26,2.465,0.74), (2.965,-3.26,3.295,0.74), (4.055,-3.26,4.385,0.74), (4.885,-3.26,5.215,0.74), (-3.215,-2.965,-3.045,0.445), (-2.385,-2.965,-2.215,0.445), (-1.405,-2.965,-1.235,0.445), (-0.575,-2.965,-0.405,0.445), (0.405,-2.965,0.575,0.445), (1.235,-2.965,1.405,0.445), (2.215,-2.965,2.385,0.445), (3.045,-2.965,3.215,0.445), (-3.295,0.74,-2.965,1.47), (-3.295,0.74,-2.965,5.145), (-2.465,0.74,-2.135,2.61), (-2.465,0.74,-2.135,5.145), (-1.485,0.74,-1.155,4.09), (-1.485,0.74,-1.155,5.145), (-0.655,0.74,-0.325,5.23), (-0.655,0.74,-0.325,5.145), (0.325,0.74,0.655,1.47), (0.325,0.74,0.655,5.145), (1.155,0.74,1.485,2.61), (1.155,0.74,1.485,5.145), (2.135,0.74,2.465,4.09), (2.135,0.74,2.465,5.145), (2.965,0.74,3.295,5.23), (2.965,0.74,3.295,5.145), (-3.215,1.3,-3.045,1.47), (0.405,1.3,0.575,1.47), (-2.385,2.44,-2.215,2.61), (1.235,2.44,1.405,2.61), (-1.405,3.92,-1.235,4.09), (2.215,3.92,2.385,4.09), (-0.575,5.06,-0.405,5.23), (3.045,5.06,3.215,5.23)])
A(transformed_bc60aaf5, mcon, -3.215, -2.965, 0.17, 0.17, 1, 10, 0, 0.36)
A(transformed_bc60aaf5, mcon, -2.385, -2.965, 0.17, 0.17, 1, 10, 0, 0.36)
A(transformed_bc60aaf5, mcon, -1.405, -2.965, 0.17, 0.17, 1, 10, 0, 0.36)
A(transformed_bc60aaf5, mcon, -0.575, -2.965, 0.17, 0.17, 1, 10, 0, 0.36)
A(transformed_bc60aaf5, mcon, 0.405, -2.965, 0.17, 0.17, 1, 10, 0, 0.36)
A(transformed_bc60aaf5, mcon, 1.235, -2.965, 0.17, 0.17, 1, 10, 0, 0.36)
A(transformed_bc60aaf5, mcon, 2.215, -2.965, 0.17, 0.17, 1, 10, 0, 0.36)
A(transformed_bc60aaf5, mcon, 3.045, -2.965, 0.17, 0.17, 1, 10, 0, 0.36)
R(transformed_bc60aaf5, mcon, [(-0.99,-5.44,-0.82,-5.27), (2.63,-5.44,2.8,-5.27), (-2.8,-4.21,-2.63,-4.04), (0.82,-4.21,0.99,-4.04), (-3.215,1.3,-3.045,1.47), (0.405,1.3,0.575,1.47), (-2.385,2.44,-2.215,2.61), (1.235,2.44,1.405,2.61), (-1.405,3.92,-1.235,4.09), (2.215,3.92,2.385,4.09), (-0.575,5.06,-0.405,5.23), (3.045,5.06,3.215,5.23)])
A(transformed_bc60aaf5, met1, -3.275, -3.025, 0.29, 0.29, 1, 10, 0, 0.36)
A(transformed_bc60aaf5, met1, -2.445, -3.025, 0.29, 0.29, 1, 10, 0, 0.36)
A(transformed_bc60aaf5, met1, -1.465, -3.025, 0.29, 0.29, 1, 10, 0, 0.36)
A(transformed_bc60aaf5, met1, -0.635, -3.025, 0.29, 0.29, 1, 10, 0, 0.36)
A(transformed_bc60aaf5, met1, 0.345, -3.025, 0.29, 0.29, 1, 10, 0, 0.36)
A(transformed_bc60aaf5, met1, 1.175, -3.025, 0.29, 0.29, 1, 10, 0, 0.36)
A(transformed_bc60aaf5, met1, 2.155, -3.025, 0.29, 0.29, 1, 10, 0, 0.36)
A(transformed_bc60aaf5, met1, 2.985, -3.025, 0.29, 0.29, 1, 10, 0, 0.36)
R(transformed_bc60aaf5, met1, [(-1.12,-5.57,-0.69,-5.14), (2.5,-5.57,2.93,-5.14), (-2.93,-4.34,-2.5,-3.91), (0.69,-4.34,1.12,-3.91), (-3.275,-3.26,-2.985,0.74), (-2.445,-3.26,-2.155,0.74), (-1.465,-3.26,-1.175,0.74), (-0.635,-3.26,-0.345,0.74), (0.345,-3.26,0.635,0.74), (1.175,-3.26,1.465,0.74), (2.155,-3.26,2.445,0.74), (2.985,-3.26,3.275,0.74), (-3.345,1.17,-2.915,1.6), (0.275,1.17,0.705,1.6), (-2.515,2.31,-2.085,2.74), (1.105,2.31,1.535,2.74), (-1.535,3.79,-1.105,4.22), (2.085,3.79,2.515,4.22), (-0.705,4.93,-0.275,5.36), (2.915,4.93,3.345,5.36)])
R(transformed_bc60aaf5, via, [(-0.98,-5.43,-0.83,-5.28), (2.64,-5.43,2.79,-5.28), (-2.79,-4.2,-2.64,-4.05), (0.83,-4.2,0.98,-4.05), (-3.205,1.31,-3.055,1.46), (0.415,1.31,0.565,1.46), (-2.375,2.45,-2.225,2.6), (1.245,2.45,1.395,2.6), (-1.395,3.93,-1.245,4.08), (2.225,3.93,2.375,4.08), (-0.565,5.07,-0.415,5.22), (3.055,5.07,3.205,5.22)])
R(transformed_bc60aaf5, met2, [(-2.965,-5.57,2.965,-5.14), (-1.155,-5.57,-0.655,-5.14), (2.465,-5.57,2.965,-5.14), (-1.07,-5.52,-0.74,-5.19), (2.55,-5.52,2.88,-5.19), (-2.965,-4.34,-2.465,-3.91), (-2.965,-4.34,2.965,-3.91), (0.655,-4.34,1.155,-3.91), (-2.88,-4.29,-2.55,-3.96), (0.74,-4.29,1.07,-3.96), (-3.295,0.955,-2.135,1.815), (-3.295,0.955,3.295,1.815), (0.325,0.955,1.485,1.815), (-3.295,1.22,-2.965,1.55), (0.325,1.22,0.655,1.55), (-3.295,2.095,-2.135,2.955), (-3.295,2.095,3.295,2.955), (0.325,2.095,1.485,2.955), (-2.465,2.36,-2.135,2.69), (1.155,2.36,1.485,2.69), (-3.295,3.575,3.295,4.435), (-1.485,3.575,-0.325,4.435), (2.135,3.575,3.295,4.435), (-1.485,3.84,-1.155,4.17), (2.135,3.84,2.465,4.17), (-3.295,4.715,3.295,5.575), (-1.485,4.715,-0.325,5.575), (2.135,4.715,3.295,5.575), (-0.655,4.98,-0.325,5.31), (2.965,4.98,3.295,5.31)])
A(transformed_bc60aaf5, nsdm, -3.485, -3.39, 1.54, 4.26, 4, 1, 1.81, 0)
R(transformed_bc60aaf5, nsdm, [(-5.405,-3.39,-3.865,0.87), (-3.485,-3.39,3.485,0.87), (3.865,-3.39,5.405,0.87)])
R(transformed_bc60aaf5, npc, [(-1.09,-5.54,-0.72,-5.17), (-1.09,-5.54,-0.72,-5.17), (2.53,-5.54,2.9,-5.17), (-2.9,-4.31,-2.53,-3.94), (0.72,-4.31,1.09,-3.94), (0.72,-4.31,1.09,-3.94), (-4.82,-3.86,-4.45,-3.49), (4.45,-3.86,4.82,-3.49)])
transformed_bc60aaf5.add(gdstk.Reference(unnamed_06561454_1, (0,0)))
transformed_bc60aaf5.add(gdstk.Reference(straight_route_0aa523a1, (0,0)))
transformed_bc60aaf5.add(gdstk.Reference(straight_route_9a4c316b, (0,0)))
transformed_bc60aaf5.add(gdstk.Reference(c_route_3179fd49, (0,0)))
transformed_bc60aaf5.add(gdstk.Reference(l_route_c072cab6, (0,0)))
transformed_bc60aaf5.add(gdstk.Reference(c_route_3a6a508b, (0,0)))

temp_diffpair_and_curren = lib.new_cell('temp_diffpair_and_current_source$2')
temp_diffpair_and_curren.add(gdstk.Reference(diff_pair_64b0bc6c, (0,-0.215)))
temp_diffpair_and_curren.add(gdstk.Reference(transformed_bc60aaf5, (0,-18.3)))

lib.write_gds('temp_diffpair_and_current_source_2.gds')
